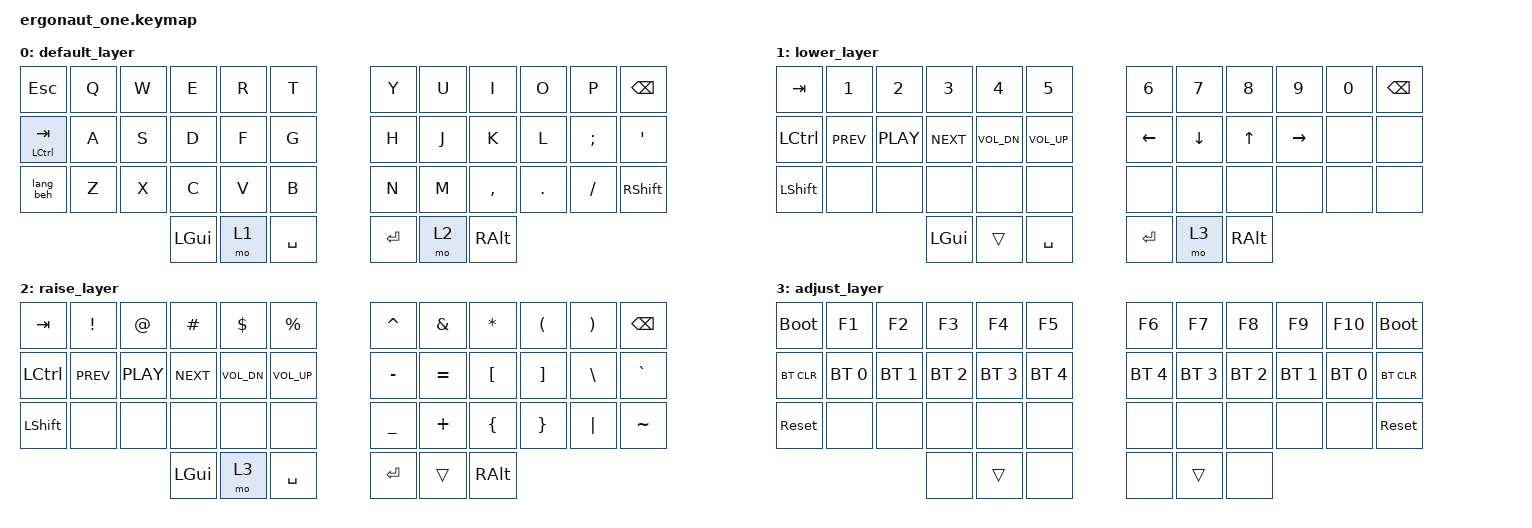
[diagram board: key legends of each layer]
#include <behaviors.dtsi>
#include <dt-bindings/zmk/bt.h>
#include <dt-bindings/zmk/keys.h>

#define DEF 0
#define LWR 1
#define RSE 2
#define ADJ 3

&lt { quick_tap_ms = <200>; };

&mt { quick_tap_ms = <200>; };

/ {
    chosen {
        zmk,matrix_transform = &default_transform;

        // zmk,matrix_transform = &extra_keys_transform;
    };
};

/ {
    macros {
        lang_macro: lang_macro {
            compatible = "zmk,behavior-macro";
            label = "LANG_MACRO";
            #binding-cells = <0>;
            bindings =
                <&macro_press>,
                <&kp LGUI>,
                <&macro_tap>,
                <&kp SPACE>,
                <&macro_release>,
                <&kp LEFT_GUI>;
        };
    };

    behaviors {
        lang_beh: lang_beh {
            compatible = "zmk,behavior-tap-dance";
            label = "LANG_BEH";
            #binding-cells = <0>;
            bindings = <&kp LSHFT>, <&lang_macro>;

            tapping-term-ms = <300>;
        };
    };

    keymap {
        compatible = "zmk,keymap";

        default_layer {
            bindings = <
&kp ESCAPE     &kp Q  &kp W  &kp E         &kp R  &kp T      &kp Y      &kp U  &kp I      &kp O    &kp P     &kp BACKSPACE
&mt LCTRL TAB  &kp A  &kp S  &kp D         &kp F  &kp G      &kp H      &kp J  &kp K      &kp L    &kp SEMI  &kp SQT
&lang_beh      &kp Z  &kp X  &kp C         &kp V  &kp B      &kp N      &kp M  &kp COMMA  &kp DOT  &kp FSLH  &kp RIGHT_SHIFT
                             &kp LEFT_GUI  &mo 1  &kp SPACE  &kp ENTER  &mo 2  &kp RALT
            >;
        };

        lower_layer {
            bindings = <
&kp TAB           &kp NUMBER_1  &kp NUMBER_2  &kp NUMBER_3  &kp NUMBER_4  &kp NUMBER_5  &kp NUMBER_6  &kp NUMBER_7    &kp NUMBER_8  &kp NUMBER_9  &kp NUMBER_0  &kp BACKSPACE
&kp LEFT_CONTROL  &kp C_PREV    &kp C_PLAY    &kp C_NEXT    &kp C_VOL_DN  &kp C_VOL_UP  &kp LEFT      &kp DOWN_ARROW  &kp UP_ARROW  &kp RIGHT     &none         &none
&kp LEFT_SHIFT    &none         &none         &none         &none         &none         &none         &none           &none         &none         &none         &none
                                              &kp LGUI      &trans        &kp SPACE     &kp ENTER     &mo 3           &kp RALT
            >;
        };

        raise_layer {
            bindings = <
&kp TAB           &kp EXCLAMATION  &kp AT_SIGN  &kp POUND   &kp DLLR      &kp PRCNT     &kp CARET       &kp AMPS   &kp STAR          &kp LPAR           &kp RPAR       &kp BACKSPACE
&kp LEFT_CONTROL  &kp C_PREV       &kp C_PLAY   &kp C_NEXT  &kp C_VOL_DN  &kp C_VOL_UP  &kp MINUS       &kp EQUAL  &kp LEFT_BRACKET  &kp RIGHT_BRACKET  &kp BACKSLASH  &kp GRAVE
&kp LSHIFT        &none            &none        &none       &none         &none         &kp UNDERSCORE  &kp PLUS   &kp LEFT_BRACE    &kp RIGHT_BRACE    &kp PIPE       &kp TILDE
                                                &kp LGUI    &mo 3         &kp SPACE     &kp ENTER       &trans     &kp RALT
            >;
        };

        adjust_layer {
            bindings = <
&bootloader  &kp F1        &kp F2        &kp F3        &kp F4        &kp F5        &kp F6        &kp F7        &kp F8        &kp F9        &kp F10       &bootloader
&bt BT_CLR   &bt BT_SEL 0  &bt BT_SEL 1  &bt BT_SEL 2  &bt BT_SEL 3  &bt BT_SEL 4  &bt BT_SEL 4  &bt BT_SEL 3  &bt BT_SEL 2  &bt BT_SEL 1  &bt BT_SEL 0  &bt BT_CLR
&sys_reset   &none         &none         &none         &none         &none         &none         &none         &none         &none         &none         &sys_reset
                                         &none         &trans        &none         &none         &trans        &none
            >;
        };
    };
};
